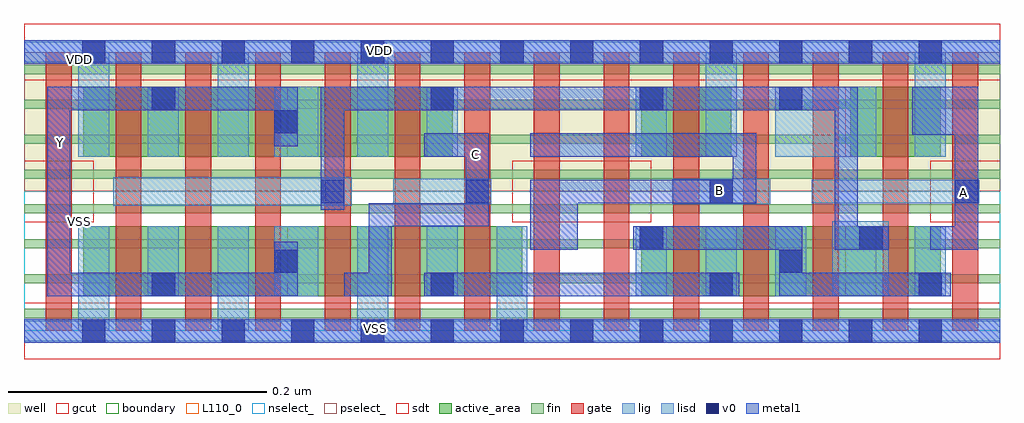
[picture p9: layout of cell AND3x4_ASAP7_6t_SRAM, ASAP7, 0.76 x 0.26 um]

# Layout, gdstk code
import gdstk
lib = gdstk.Library(unit=1e-6, precision=2.5e-10)
def R(c, l, rs):  # rectangles x0, y0, x1, y1
    for r in rs: c.add(gdstk.rectangle(r[:2], r[2:], *l))
def A(c, l, x, y, w, h, nx, ny, dx, dy):  # array of equal rectangles
    R(c, l, [(x+i*dx, y+j*dy, x+i*dx+w, y+j*dy+h) for i in range(nx) for j in range(ny)])
def P(c, l, *ps):  # polygons
    for p in ps: c.add(gdstk.Polygon(p, *l))
well = (1, 0)
fin = (2, 0)
gate = (7, 0)
gcut = (10, 0)
active_area = (11, 0)
nselect_ = (12, 0)
pselect_ = (13, 0)
lig = (16, 0)
lisd = (17, 0)
v0 = (18, 0)
metal1 = (19, 0)
sdt = (88, 0)
boundary = (100, 0)
L110_0 = (110, 0)

and3x4_asap7_6t_sram = lib.new_cell('AND3x4_ASAP7_6t_SRAM')
R(and3x4_asap7_6t_sram, well, [(0,0.108,0.756,0.216)])
A(and3x4_asap7_6t_sram, fin, 0, 0.01, 0.756, 0.007, 1, 7, 0, 0.027)
R(and3x4_asap7_6t_sram, fin, [(0,0.172,0.756,0.179), (0,0.199,0.756,0.206), (0,0.199,0.756,0.206)])
A(and3x4_asap7_6t_sram, gate, 0.017, 0, 0.02, 0.216, 14, 1, 0.054, 0)
R(and3x4_asap7_6t_sram, gcut, [(0,-0.022,0.756,0.022), (0,0.084,0.054,0.132), (0.378,0.084,0.486,0.132), (0.702,0.084,0.756,0.132), (0,0.194,0.756,0.238)])
R(and3x4_asap7_6t_sram, active_area, [(0.046,0.027,0.386,0.081), (0.478,0.027,0.71,0.081), (0.046,0.135,0.332,0.189), (0.478,0.135,0.548,0.189), (0.64,0.135,0.71,0.189)])
R(and3x4_asap7_6t_sram, nselect_, [(0,0,0.756,0.108)])
R(and3x4_asap7_6t_sram, pselect_, [(0,0.108,0.756,0.216)])
R(and3x4_asap7_6t_sram, lig, [(0,-0.008,0.756,0.008), (0.069,0.097,0.254,0.119), (0.286,0.098,0.362,0.118), (0.502,0.098,0.578,0.118), (0.61,0.099,0.74,0.117), (0,0.208,0.756,0.224)])
A(and3x4_asap7_6t_sram, lisd, 0.042, 0, 0.024, 0.081, 4, 1, 0.108, 0)
A(and3x4_asap7_6t_sram, lisd, 0.474, 0.027, 0.024, 0.054, 3, 1, 0.054, 0)
A(and3x4_asap7_6t_sram, lisd, 0.042, 0.135, 0.024, 0.081, 3, 1, 0.108, 0)
R(and3x4_asap7_6t_sram, lisd, [(0.096,0.027,0.12,0.081), (0.194,0.027,0.228,0.081), (0.312,0.027,0.336,0.081), (0.626,0.027,0.67,0.085), (0.69,0.027,0.714,0.081), (0.096,0.135,0.12,0.189), (0.194,0.135,0.228,0.189), (0.312,0.135,0.336,0.189), (0.474,0.135,0.498,0.189), (0.528,0.135,0.552,0.216), (0.582,0.135,0.66,0.189), (0.69,0.135,0.714,0.216)])
A(and3x4_asap7_6t_sram, v0, 0.045, -0.009, 0.018, 0.018, 13, 2, 0.054, 0.216)
A(and3x4_asap7_6t_sram, v0, 0.099, 0.027, 0.018, 0.018, 3, 1, 0.216, 0)
R(and3x4_asap7_6t_sram, v0, [(0.693,0.027,0.711,0.045), (0.194,0.045,0.212,0.063), (0.585,0.045,0.603,0.063), (0.477,0.063,0.495,0.081), (0.647,0.063,0.665,0.081), (0.23,0.099,0.248,0.117), (0.342,0.099,0.36,0.117), (0.531,0.099,0.549,0.117), (0.721,0.099,0.739,0.117), (0.194,0.153,0.212,0.171), (0.099,0.171,0.117,0.189), (0.315,0.171,0.333,0.189), (0.477,0.171,0.495,0.189), (0.585,0.171,0.603,0.189)])
R(and3x4_asap7_6t_sram, metal1, [(0,-0.009,0.756,0.009), (0.31,0.027,0.554,0.045), (0.628,0.063,0.67,0.081), (0.702,0.063,0.739,0.081), (0.721,0.063,0.739,0.089), (0,0.207,0.756,0.225)])
P(and3x4_asap7_6t_sram, metal1, [(0.721,0.152),(0.688,0.152),(0.688,0.189),(0.739,0.189),(0.739,0.07),(0.721,0.07)],
  [(0.718,0.045),(0.603,0.045),(0.603,0.081),(0.472,0.081),(0.472,0.063),(0.585,0.063),(0.585,0.027),(0.718,0.027)],
  [(0.36,0.153),(0.31,0.153),(0.31,0.135),(0.342,0.135),(0.342,0.099),(0.267,0.099),(0.267,0.045),(0.248,0.045),(0.248,0.027),(0.285,0.027),(0.285,0.081),(0.36,0.081)],
  [(0.646,0.189),(0.23,0.189),(0.23,0.094),(0.248,0.094),(0.248,0.171),(0.628,0.171),(0.628,0.063),(0.646,0.063)],
  [(0.567,0.153),(0.392,0.153),(0.392,0.135),(0.549,0.135),(0.549,0.117),(0.392,0.117),(0.392,0.063),(0.429,0.063),(0.429,0.099),(0.567,0.099)],
  [(0.212,0.069),(0.194,0.069),(0.194,0.045),(0.036,0.045),(0.036,0.171),(0.194,0.171),(0.194,0.143),(0.212,0.143),(0.212,0.189),(0.018,0.189),(0.018,0.027),(0.212,0.027)])
A(and3x4_asap7_6t_sram, sdt, 0.042, 0.027, 0.024, 0.054, 7, 1, 0.054, 0)
A(and3x4_asap7_6t_sram, sdt, 0.474, 0.027, 0.024, 0.054, 5, 1, 0.054, 0)
A(and3x4_asap7_6t_sram, sdt, 0.042, 0.135, 0.024, 0.054, 6, 1, 0.054, 0)
R(and3x4_asap7_6t_sram, sdt, [(0.474,0.135,0.498,0.189), (0.528,0.135,0.552,0.189), (0.636,0.135,0.66,0.189), (0.69,0.135,0.714,0.189)])
R(and3x4_asap7_6t_sram, boundary, [(0,0,0.756,0.216)])
R(and3x4_asap7_6t_sram, L110_0, [(0,0,0.756,0.216)])
and3x4_asap7_6t_sram.add(gdstk.Label('C', (0.35,0.137), layer=19, texttype=251))
and3x4_asap7_6t_sram.add(gdstk.Label('VDD', (0.275,0.217), layer=19, texttype=251))
and3x4_asap7_6t_sram.add(gdstk.Label('VSS', (0.272,0.002), layer=19, texttype=251))
and3x4_asap7_6t_sram.add(gdstk.Label('Y', (0.028,0.146), layer=19, texttype=251))
and3x4_asap7_6t_sram.add(gdstk.Label('B', (0.539,0.109), layer=19, texttype=251))
and3x4_asap7_6t_sram.add(gdstk.Label('A', (0.728,0.107), layer=19, texttype=251))
and3x4_asap7_6t_sram.add(gdstk.Label('VDD', (0.043,0.21), layer=1, texttype=251))
and3x4_asap7_6t_sram.add(gdstk.Label('VSS', (0.043,0.085), layer=3, texttype=251))

lib.write_gds('AND3x4_ASAP7_6t_SRAM.gds')
